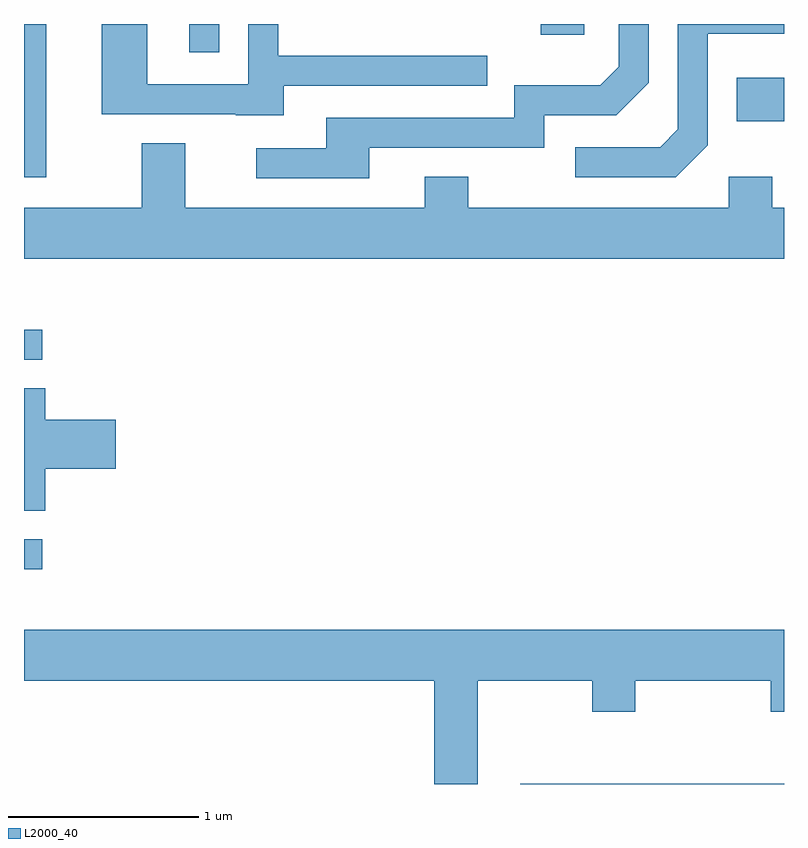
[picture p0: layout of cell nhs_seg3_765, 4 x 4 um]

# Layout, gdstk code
import gdstk
lib = gdstk.Library(unit=1e-6, precision=1e-09)
def R(c, l, rs):  # rectangles x0, y0, x1, y1
    for r in rs: c.add(gdstk.rectangle(r[:2], r[2:], *l))
def P(c, l, *ps):  # polygons
    for p in ps: c.add(gdstk.Polygon(p, *l))
L2000_40 = (2000, 40)

nhs_seg3_765 = lib.new_cell('nhs_seg3_765')
R(nhs_seg3_765, L2000_40, [(210.223,1149.892,211.611,1149.894), (207.611,1151.021,207.708,1151.179), (207.611,1152.126,207.708,1152.284), (207.611,1153.086,207.729,1153.892), (211.361,1153.381,211.611,1153.609), (208.481,1153.743,208.639,1153.892)])
P(nhs_seg3_765, L2000_40, [(208.979,1153.566),(210.048,1153.566),(210.048,1153.724),(208.949,1153.724),(208.949,1153.892),(208.791,1153.892),(208.791,1153.574),(208.259,1153.574),(208.259,1153.892),(208.021,1153.892),(208.021,1153.416),(208.725,1153.416),(208.725,1153.411),(208.979,1153.411)],
  [(211.209,1153.254),(211.209,1153.841),(211.611,1153.841),(211.611,1153.892),(211.051,1153.892),(211.051,1153.337),(210.959,1153.244),(210.513,1153.244),(210.513,1153.086),(211.042,1153.086)],
  [(210.559,1153.892),(209.101,1153.892),(209.101,1153.891),(210.331,1153.891),(210.331,1153.836),(210.559,1153.836)],
  [(209.429,1153.241),(210.349,1153.241),(210.349,1153.411),(210.727,1153.411),(210.899,1153.584),(210.899,1153.892),(210.741,1153.892),(210.741,1153.667),(210.644,1153.569),(210.191,1153.569),(210.191,1153.399),(209.201,1153.399),(209.201,1153.239),(208.833,1153.239),(208.833,1153.081),(209.429,1153.081)],
  [(211.611,1152.924),(211.549,1152.924),(211.549,1153.089),(211.321,1153.089),(211.321,1152.924),(209.949,1152.924),(209.949,1153.089),(209.721,1153.089),(209.721,1152.924),(208.459,1152.924),(208.459,1153.264),(208.231,1153.264),(208.231,1152.924),(207.611,1152.924),(207.611,1152.656),(211.611,1152.656)],
  [(207.724,1151.551),(208.094,1151.551),(208.094,1151.809),(207.724,1151.809),(207.724,1151.974),(207.611,1151.974),(207.611,1151.331),(207.724,1151.331)],
  [(209.999,1150.436),(210.601,1150.436),(210.601,1150.271),(210.829,1150.271),(210.829,1150.436),(211.541,1150.436),(211.541,1150.271),(211.611,1150.271),(211.611,1150.704),(207.611,1150.704),(207.611,1150.436),(209.771,1150.436),(209.771,1149.892),(209.999,1149.892)])

lib.write_gds('nhs_seg3_765.gds')
